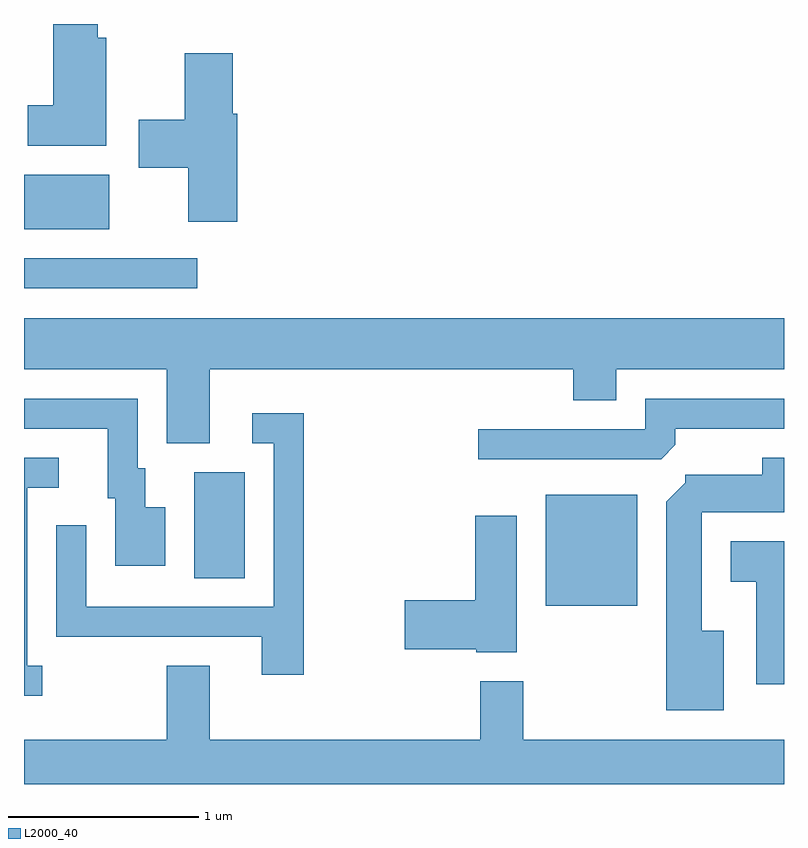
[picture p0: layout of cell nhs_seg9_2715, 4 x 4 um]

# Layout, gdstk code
import gdstk
lib = gdstk.Library(unit=1e-6, precision=1e-09)
def R(c, l, rs):  # rectangles x0, y0, x1, y1
    for r in rs: c.add(gdstk.rectangle(r[:2], r[2:], *l))
def P(c, l, *ps):  # polygons
    for p in ps: c.add(gdstk.Polygon(p, *l))
L2000_40 = (2000, 40)

nhs_seg9_2715 = lib.new_cell('nhs_seg9_2715')
R(nhs_seg9_2715, L2000_40, [(266.356,2079.371,266.839,2079.954), (264.506,2079.516,264.774,2080.074), (263.611,2081.041,264.523,2081.199), (263.611,2081.351,264.059,2081.639)])
P(nhs_seg9_2715, L2000_40, [(264.044,2082.359),(263.999,2082.359),(263.999,2082.432),(263.766,2082.432),(263.766,2082.004),(263.631,2082.004),(263.631,2081.791),(264.044,2081.791)],
  [(264.734,2081.959),(264.709,2081.959),(264.709,2082.279),(264.456,2082.279),(264.456,2081.929),(264.216,2081.929),(264.216,2081.676),(264.476,2081.676),(264.476,2081.391),(264.734,2081.391)],
  [(264.589,2080.616),(266.501,2080.616),(266.501,2080.451),(266.729,2080.451),(266.729,2080.616),(267.611,2080.616),(267.611,2080.884),(263.611,2080.884),(263.611,2080.616),(264.361,2080.616),(264.361,2080.226),(264.589,2080.226)],
  [(267.039,2080.217),(267.039,2080.301),(267.611,2080.301),(267.611,2080.459),(266.881,2080.459),(266.881,2080.299),(266.003,2080.299),(266.003,2080.141),(266.964,2080.141)],
  [(264.354,2079.889),(264.249,2079.889),(264.249,2080.094),(264.209,2080.094),(264.209,2080.459),(263.611,2080.459),(263.611,2080.301),(264.051,2080.301),(264.051,2079.936),(264.091,2079.936),(264.091,2079.581),(264.354,2079.581)],
  [(265.084,2080.384),(264.813,2080.384),(264.813,2080.226),(264.926,2080.226),(264.926,2079.364),(263.939,2079.364),(263.939,2079.793),(263.781,2079.793),(263.781,2079.206),(264.861,2079.206),(264.861,2079.006),(265.084,2079.006)],
  [(267.294,2079.239),(267.179,2079.239),(267.179,2079.861),(267.611,2079.861),(267.611,2080.149),(267.496,2080.149),(267.496,2080.059),(267.091,2080.059),(267.091,2080.017),(266.991,2079.917),(266.991,2078.821),(267.294,2078.821)],
  [(263.708,2079.054),(263.629,2079.054),(263.629,2079.991),(263.793,2079.991),(263.793,2080.149),(263.611,2080.149),(263.611,2078.896),(263.708,2078.896)],
  [(266.204,2079.844),(265.986,2079.844),(265.986,2079.399),(265.616,2079.399),(265.616,2079.141),(265.99,2079.141),(265.99,2079.126),(266.204,2079.126)],
  [(267.611,2079.709),(267.331,2079.709),(267.331,2079.496),(267.466,2079.496),(267.466,2078.956),(267.611,2078.956)],
  [(267.611,2078.664),(266.239,2078.664),(266.239,2078.974),(266.011,2078.974),(266.011,2078.664),(264.589,2078.664),(264.589,2079.054),(264.361,2079.054),(264.361,2078.664),(263.611,2078.664),(263.611,2078.432),(267.611,2078.432)])

lib.write_gds('nhs_seg9_2715.gds')
